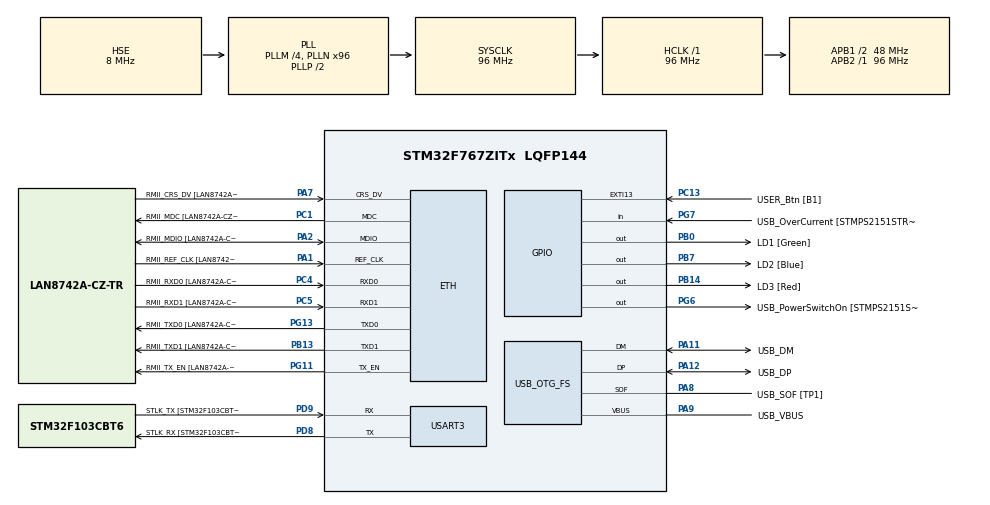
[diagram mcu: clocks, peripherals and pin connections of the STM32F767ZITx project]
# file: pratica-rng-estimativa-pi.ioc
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CORTEX_M7.default_mode_Activation=1
ETH.MediaInterface=HAL_ETH_RMII_MODE
ETH.PHY_Name=LAN8742A_PHY_ADDRESS
ETH.PHY_Value=0
ETH.PhyAddress=0
Mcu.Family=STM32F7
Mcu.Name=STM32F767ZITx
Mcu.Package=LQFP144
NVIC.PriorityGroup=NVIC_PRIORITYGROUP_4
PA1.GPIO_Label=RMII_REF_CLK [LAN8742A-CZ-TR_REFCLK0]
PA1.Mode=RMII
PA1.Signal=ETH_REF_CLK
PA10.GPIO_Label=USB_ID
PA10.Signal=USB_OTG_FS_ID
PA11.GPIO_Label=USB_DM
PA11.Mode=Device_Only
PA11.Signal=USB_OTG_FS_DM
PA12.GPIO_Label=USB_DP
PA12.Mode=Device_Only
PA12.Signal=USB_OTG_FS_DP
PA13.GPIO_Label=TMS
PA13.Mode=Serial_Wire
PA13.Signal=SYS_JTMS-SWDIO
PA14.GPIO_Label=TCK
PA14.Mode=Serial_Wire
PA14.Signal=SYS_JTCK-SWCLK
PA2.GPIO_Label=RMII_MDIO [LAN8742A-CZ-TR_MDIO]
PA2.Mode=RMII
PA2.Signal=ETH_MDIO
PA7.GPIO_Label=RMII_CRS_DV [LAN8742A-CZ-TR_CRS_DV]
PA7.Mode=RMII
PA7.Signal=ETH_CRS_DV
PA8.GPIO_Label=USB_SOF [TP1]
PA8.Mode=Activate_SOF_FS
PA8.Signal=USB_OTG_FS_SOF
PA9.GPIO_Label=USB_VBUS
PA9.Mode=Activate_VBUS
PA9.Signal=USB_OTG_FS_VBUS
PB0.GPIO_Label=LD1 [Green]
PB0.Signal=GPIO_Output
PB13.GPIO_Label=RMII_TXD1 [LAN8742A-CZ-TR_TXD1]
PB13.Mode=RMII
PB13.Signal=ETH_TXD1
PB14.GPIO_Label=LD3 [Red]
PB14.Signal=GPIO_Output
PB3.GPIO_Label=SWO
PB3.Signal=SYS_JTDO-SWO
PB7.GPIO_Label=LD2 [Blue]
PB7.Signal=GPIO_Output
PC1.GPIO_Label=RMII_MDC [LAN8742A-CZ-TR_MDC]
PC1.Mode=RMII
PC1.Signal=ETH_MDC
PC13.GPIO_Label=USER_Btn [B1]
PC13.Signal=GPXTI13
PC14/OSC32_IN.Mode=LSE-External-Oscillator
PC14/OSC32_IN.Signal=RCC_OSC32_IN
PC15/OSC32_OUT.Mode=LSE-External-Oscillator
PC15/OSC32_OUT.Signal=RCC_OSC32_OUT
PC4.GPIO_Label=RMII_RXD0 [LAN8742A-CZ-TR_RXD0]
PC4.Mode=RMII
PC4.Signal=ETH_RXD0
PC5.GPIO_Label=RMII_RXD1 [LAN8742A-CZ-TR_RXD1]
PC5.Mode=RMII
PC5.Signal=ETH_RXD1
PD8.GPIO_Label=STLK_RX [STM32F103CBT6_PA3]
PD8.Mode=Asynchronous
PD8.Signal=USART3_TX
PD9.GPIO_Label=STLK_TX [STM32F103CBT6_PA2]
PD9.Mode=Asynchronous
PD9.Signal=USART3_RX
PG11.GPIO_Label=RMII_TX_EN [LAN8742A-CZ-TR_TXEN]
PG11.Mode=RMII
PG11.Signal=ETH_TX_EN
PG13.GPIO_Label=RMII_TXD0 [LAN8742A-CZ-TR_TXD0]
PG13.Mode=RMII
PG13.Signal=ETH_TXD0
PG6.GPIO_Label=USB_PowerSwitchOn [STMPS2151STR_EN]
PG6.Signal=GPIO_Output
PG7.GPIO_Label=USB_OverCurrent [STMPS2151STR_FAULT]
PG7.Signal=GPIO_Input
PH0/OSC_IN.GPIO_Label=MCO [STM32F103CBT6_PA8]
PH0/OSC_IN.Mode=HSE-External-Clock-Source
PH0/OSC_IN.Signal=RCC_OSC_IN
PH1/OSC_OUT.Mode=HSE-External-Clock-Source
PH1/OSC_OUT.Signal=RCC_OSC_OUT
ProjectManager.HeapSize=0x200
ProjectManager.StackSize=0x400
ProjectManager.TargetToolchain=STM32CubeIDE
RCC.48MHZClocksFreq_Value=24000000
RCC.AHBFreq_Value=96000000
RCC.APB1CLKDivider=RCC_HCLK_DIV2
RCC.APB1Freq_Value=48000000
RCC.APB1TimFreq_Value=96000000
RCC.APB2Freq_Value=96000000
RCC.APB2TimFreq_Value=96000000
RCC.CortexFreq_Value=96000000
RCC.HCLKFreq_Value=96000000
RCC.HSE_VALUE=8000000
RCC.HSI_VALUE=16000000
RCC.PLLM=4
RCC.PLLMUL=RCC_PLL_MUL9
RCC.PLLN=96
RCC.PLLQ=4
RCC.PRESCALERUSB=RCC_USBCLKSOURCE_PLL_DIV1_5
RCC.SYSCLKFreq_VALUE=96000000
RCC.SYSCLKSource=RCC_SYSCLKSOURCE_PLLCLK
RCC.SYSCLKSourceVirtual=RCC_SYSCLKSOURCE_PLLCLK
RCC.USBFreq_Value=48000000
RCC.VCOOutputFreq_Value=192000000
USART3.VirtualMode-Asynchronous=VM_ASYNC
USB_OTG_FS.VirtualMode=Device_Only
VP_RNG_VS_RNG.Mode=RNG_Activate
board=NUCLEO-F767ZI

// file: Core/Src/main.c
/* USER CODE BEGIN Header */
/**
  ******************************************************************************
  * @file           : main.c
  * @brief          : Main program body
  ******************************************************************************
  * @attention
  *
  * Copyright (c) 2026 STMicroelectronics.
  * All rights reserved.
  *
  * This software is licensed under terms that can be found in the LICENSE file
  * in the root directory of this software component.
  * If no LICENSE file comes with this software, it is provided AS-IS.
  *
  ******************************************************************************
  */
/* USER CODE END Header */
#include "main.h"
#include "string.h"

/* USER CODE BEGIN Includes */
#include <stdio.h>
#include <stdint.h>
#include "pi_mc.h"
/* USER CODE END Includes */

#if defined ( __ICCARM__ ) /*!< IAR Compiler */
#pragma location=0x2007c000
ETH_DMADescTypeDef  DMARxDscrTab[ETH_RX_DESC_CNT]; /* Ethernet Rx DMA Descriptors */
#pragma location=0x2007c0a0
ETH_DMADescTypeDef  DMATxDscrTab[ETH_TX_DESC_CNT]; /* Ethernet Tx DMA Descriptors */

#elif defined ( __CC_ARM )  /* MDK ARM Compiler */

__attribute__((at(0x2007c000))) ETH_DMADescTypeDef  DMARxDscrTab[ETH_RX_DESC_CNT]; /* Ethernet Rx DMA Descriptors */
__attribute__((at(0x2007c0a0))) ETH_DMADescTypeDef  DMATxDscrTab[ETH_TX_DESC_CNT]; /* Ethernet Tx DMA Descriptors */

#elif defined ( __GNUC__ ) /* GNU Compiler */

ETH_DMADescTypeDef DMARxDscrTab[ETH_RX_DESC_CNT] __attribute__((section(".RxDecripSection"))); /* Ethernet Rx DMA Descriptors */
ETH_DMADescTypeDef DMATxDscrTab[ETH_TX_DESC_CNT] __attribute__((section(".TxDecripSection")));   /* Ethernet Tx DMA Descriptors */
#endif

ETH_TxPacketConfig TxConfig;

ETH_HandleTypeDef heth;

RNG_HandleTypeDef hrng;

UART_HandleTypeDef huart3;

PCD_HandleTypeDef hpcd_USB_OTG_FS;

void SystemClock_Config(void);
static void MPU_Config(void);
static void MX_GPIO_Init(void);
static void MX_ETH_Init(void);
static void MX_RNG_Init(void);
static void MX_USART3_UART_Init(void);
static void MX_USB_OTG_FS_PCD_Init(void);

/* USER CODE BEGIN 0 */
/* printf -> USART3 (VCP do ST-LINK). Chamado por _write() em syscalls.c */
int __io_putchar(int ch)
{
  uint8_t c = (uint8_t)ch;
  HAL_UART_Transmit(&huart3, &c, 1, HAL_MAX_DELAY);
  return ch;
}

/* Fonte de aleatoriedade: periférico RNG (32 bits por chamada). */
static uint32_t hw_rng(void)
{
  uint32_t v;
  if (HAL_RNG_GenerateRandomNumber(&hrng, &v) != HAL_OK)
  {
    Error_Handler();
  }
  return v;
}
/* USER CODE END 0 */

int main(void)
{

  /* MPU Configuration--------------------------------------------------------*/
  MPU_Config();

  /* MCU Configuration--------------------------------------------------------*/

  /* Reset of all peripherals, Initializes the Flash interface and the Systick. */
  HAL_Init();

  /* Configure the system clock */
  SystemClock_Config();

  /* Initialize all configured peripherals */
  MX_GPIO_Init();
  MX_ETH_Init();
  MX_RNG_Init();
  MX_USART3_UART_Init();
  MX_USB_OTG_FS_PCD_Init();
  /* USER CODE BEGIN 2 */
  pi_mc_t pi;
  pi_mc_init(&pi);
  printf("\r\nEstimativa de pi por Monte Carlo (RNG STM32F767)\r\n");
  /* USER CODE END 2 */

  /* Infinite loop */
  while (1)
  {

    /* USER CODE BEGIN 3 */
    pi_mc_run(&pi, hw_rng, PI_MC_BATCH);
    uint64_t micro = pi_mc_micro(&pi);
    printf("Mpontos=%lu pi=%lu.%06lu\r\n",
           (unsigned long)(pi.total / 1000000u),
           (unsigned long)(micro / 1000000u),
           (unsigned long)(micro % 1000000u));
  }
  /* USER CODE END 3 */
}

void SystemClock_Config(void)
{
  RCC_OscInitTypeDef RCC_OscInitStruct = {0};
  RCC_ClkInitTypeDef RCC_ClkInitStruct = {0};

  /** Configure LSE Drive Capability
  */
  HAL_PWR_EnableBkUpAccess();

  /** Configure the main internal regulator output voltage
  */
  __HAL_RCC_PWR_CLK_ENABLE();
  __HAL_PWR_VOLTAGESCALING_CONFIG(PWR_REGULATOR_VOLTAGE_SCALE3);

  /** Initializes the RCC Oscillators according to the specified parameters
  * in the RCC_OscInitTypeDef structure.
  */
  RCC_OscInitStruct.OscillatorType = RCC_OSCILLATORTYPE_HSE;
  RCC_OscInitStruct.HSEState = RCC_HSE_BYPASS;
  RCC_OscInitStruct.PLL.PLLState = RCC_PLL_ON;
  RCC_OscInitStruct.PLL.PLLSource = RCC_PLLSOURCE_HSE;
  RCC_OscInitStruct.PLL.PLLM = 4;
  RCC_OscInitStruct.PLL.PLLN = 96;
  RCC_OscInitStruct.PLL.PLLP = RCC_PLLP_DIV2;
  RCC_OscInitStruct.PLL.PLLQ = 4;
  RCC_OscInitStruct.PLL.PLLR = 2;
  if (HAL_RCC_OscConfig(&RCC_OscInitStruct) != HAL_OK)
  {
    Error_Handler();
  }

  /** Activate the Over-Drive mode
  */
  if (HAL_PWREx_EnableOverDrive() != HAL_OK)
  {
    Error_Handler();
  }

  /** Initializes the CPU, AHB and APB buses clocks
  */
  RCC_ClkInitStruct.ClockType = RCC_CLOCKTYPE_HCLK|RCC_CLOCKTYPE_SYSCLK
                              |RCC_CLOCKTYPE_PCLK1|RCC_CLOCKTYPE_PCLK2;
  RCC_ClkInitStruct.SYSCLKSource = RCC_SYSCLKSOURCE_PLLCLK;
  RCC_ClkInitStruct.AHBCLKDivider = RCC_SYSCLK_DIV1;
  RCC_ClkInitStruct.APB1CLKDivider = RCC_HCLK_DIV2;
  RCC_ClkInitStruct.APB2CLKDivider = RCC_HCLK_DIV1;

  if (HAL_RCC_ClockConfig(&RCC_ClkInitStruct, FLASH_LATENCY_3) != HAL_OK)
  {
    Error_Handler();
  }
}

static void MX_ETH_Init(void)
{

   static uint8_t MACAddr[6];

  heth.Instance = ETH;
  MACAddr[0] = 0x00;
  MACAddr[1] = 0x80;
  MACAddr[2] = 0xE1;
  MACAddr[3] = 0x00;
  MACAddr[4] = 0x00;
  MACAddr[5] = 0x00;
  heth.Init.MACAddr = &MACAddr[0];
  heth.Init.MediaInterface = HAL_ETH_RMII_MODE;
  heth.Init.TxDesc = DMATxDscrTab;
  heth.Init.RxDesc = DMARxDscrTab;
  heth.Init.RxBuffLen = 1524;

  if (HAL_ETH_Init(&heth) != HAL_OK)
  {
    Error_Handler();
  }

  memset(&TxConfig, 0 , sizeof(ETH_TxPacketConfig));
  TxConfig.Attributes = ETH_TX_PACKETS_FEATURES_CSUM | ETH_TX_PACKETS_FEATURES_CRCPAD;
  TxConfig.ChecksumCtrl = ETH_CHECKSUM_IPHDR_PAYLOAD_INSERT_PHDR_CALC;
  TxConfig.CRCPadCtrl = ETH_CRC_PAD_INSERT;

}

static void MX_RNG_Init(void)
{

  hrng.Instance = RNG;
  if (HAL_RNG_Init(&hrng) != HAL_OK)
  {
    Error_Handler();
  }

}

static void MX_USART3_UART_Init(void)
{

  huart3.Instance = USART3;
  huart3.Init.BaudRate = 115200;
  huart3.Init.WordLength = UART_WORDLENGTH_8B;
  huart3.Init.StopBits = UART_STOPBITS_1;
  huart3.Init.Parity = UART_PARITY_NONE;
  huart3.Init.Mode = UART_MODE_TX_RX;
  huart3.Init.HwFlowCtl = UART_HWCONTROL_NONE;
  huart3.Init.OverSampling = UART_OVERSAMPLING_16;
  huart3.Init.OneBitSampling = UART_ONE_BIT_SAMPLE_DISABLE;
  huart3.AdvancedInit.AdvFeatureInit = UART_ADVFEATURE_NO_INIT;
  if (HAL_UART_Init(&huart3) != HAL_OK)
  {
    Error_Handler();
  }

}

static void MX_USB_OTG_FS_PCD_Init(void)
{

  hpcd_USB_OTG_FS.Instance = USB_OTG_FS;
  hpcd_USB_OTG_FS.Init.dev_endpoints = 6;
  hpcd_USB_OTG_FS.Init.speed = PCD_SPEED_FULL;
  hpcd_USB_OTG_FS.Init.dma_enable = DISABLE;
  hpcd_USB_OTG_FS.Init.phy_itface = PCD_PHY_EMBEDDED;
  hpcd_USB_OTG_FS.Init.Sof_enable = ENABLE;
  hpcd_USB_OTG_FS.Init.low_power_enable = DISABLE;
  hpcd_USB_OTG_FS.Init.lpm_enable = DISABLE;
  hpcd_USB_OTG_FS.Init.vbus_sensing_enable = ENABLE;
  hpcd_USB_OTG_FS.Init.use_dedicated_ep1 = DISABLE;
  if (HAL_PCD_Init(&hpcd_USB_OTG_FS) != HAL_OK)
  {
    Error_Handler();
  }

}

static void MX_GPIO_Init(void)
{
  GPIO_InitTypeDef GPIO_InitStruct = {0};

  /* GPIO Ports Clock Enable */
  __HAL_RCC_GPIOC_CLK_ENABLE();
  __HAL_RCC_GPIOH_CLK_ENABLE();
  __HAL_RCC_GPIOA_CLK_ENABLE();
  __HAL_RCC_GPIOB_CLK_ENABLE();
  __HAL_RCC_GPIOD_CLK_ENABLE();
  __HAL_RCC_GPIOG_CLK_ENABLE();

  /*Configure GPIO pin Output Level */
  HAL_GPIO_WritePin(GPIOB, LD1_Pin|LD3_Pin|LD2_Pin, GPIO_PIN_RESET);

  /*Configure GPIO pin Output Level */
  HAL_GPIO_WritePin(USB_PowerSwitchOn_GPIO_Port, USB_PowerSwitchOn_Pin, GPIO_PIN_RESET);

  /*Configure GPIO pin : USER_Btn_Pin */
  GPIO_InitStruct.Pin = USER_Btn_Pin;
  GPIO_InitStruct.Mode = GPIO_MODE_IT_RISING;
  GPIO_InitStruct.Pull = GPIO_NOPULL;
  HAL_GPIO_Init(USER_Btn_GPIO_Port, &GPIO_InitStruct);

  /*Configure GPIO pins : LD1_Pin LD3_Pin LD2_Pin */
  GPIO_InitStruct.Pin = LD1_Pin|LD3_Pin|LD2_Pin;
  GPIO_InitStruct.Mode = GPIO_MODE_OUTPUT_PP;
  GPIO_InitStruct.Pull = GPIO_NOPULL;
  GPIO_InitStruct.Speed = GPIO_SPEED_FREQ_LOW;
  HAL_GPIO_Init(GPIOB, &GPIO_InitStruct);

  /*Configure GPIO pin : USB_PowerSwitchOn_Pin */
  GPIO_InitStruct.Pin = USB_PowerSwitchOn_Pin;
  GPIO_InitStruct.Mode = GPIO_MODE_OUTPUT_PP;
  GPIO_InitStruct.Pull = GPIO_NOPULL;
  GPIO_InitStruct.Speed = GPIO_SPEED_FREQ_LOW;
  HAL_GPIO_Init(USB_PowerSwitchOn_GPIO_Port, &GPIO_InitStruct);

  /*Configure GPIO pin : USB_OverCurrent_Pin */
  GPIO_InitStruct.Pin = USB_OverCurrent_Pin;
  GPIO_InitStruct.Mode = GPIO_MODE_INPUT;
  GPIO_InitStruct.Pull = GPIO_NOPULL;
  HAL_GPIO_Init(USB_OverCurrent_GPIO_Port, &GPIO_InitStruct);

}

 /* MPU Configuration */

void MPU_Config(void)
{
  MPU_Region_InitTypeDef MPU_InitStruct = {0};

  /* Disables the MPU */
  HAL_MPU_Disable();

  /** Initializes and configures the Region and the memory to be protected
  */
  MPU_InitStruct.Enable = MPU_REGION_ENABLE;
  MPU_InitStruct.Number = MPU_REGION_NUMBER0;
  MPU_InitStruct.BaseAddress = 0x0;
  MPU_InitStruct.Size = MPU_REGION_SIZE_4GB;
  MPU_InitStruct.SubRegionDisable = 0x87;
  MPU_InitStruct.TypeExtField = MPU_TEX_LEVEL0;
  MPU_InitStruct.AccessPermission = MPU_REGION_NO_ACCESS;
  MPU_InitStruct.DisableExec = MPU_INSTRUCTION_ACCESS_DISABLE;
  MPU_InitStruct.IsShareable = MPU_ACCESS_SHAREABLE;
  MPU_InitStruct.IsCacheable = MPU_ACCESS_NOT_CACHEABLE;
  MPU_InitStruct.IsBufferable = MPU_ACCESS_NOT_BUFFERABLE;

  HAL_MPU_ConfigRegion(&MPU_InitStruct);
  /* Enables the MPU */
  HAL_MPU_Enable(MPU_PRIVILEGED_DEFAULT);

}

void Error_Handler(void)
{
  __disable_irq();
  while (1)
  {
  }
}
